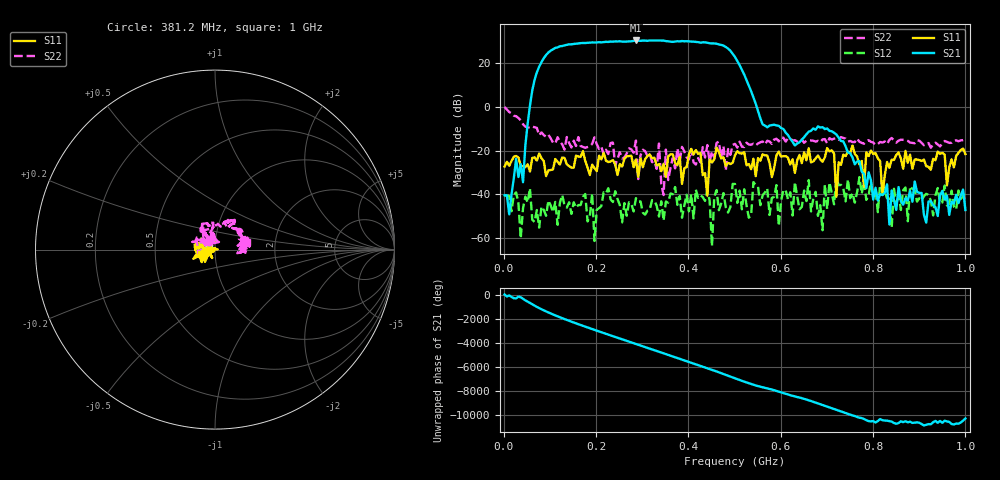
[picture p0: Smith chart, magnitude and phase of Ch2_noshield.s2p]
!Keysight Technologies N9923A: A.12.45
!Date: Friday, 10 October 2025 01:57:10
!Timezone: (UTC+08:00) Kuala Lumpur, Singapore
!Model: N9923A
!Serial: MY61181427
!GPS Latitude:
!GPS Longitude:
!GPS TimeStamp: 0001-01-01 00:00:00Z
!GPS Seconds Since Last Read: 0
!CHECKSUM:0572814941
!Correction: S11(ON U?)S21(ON U?)S12(ON U?)S22(ON U?)
!S2P File: Measurements:S11,S21,S12,S22:
# Hz S DB R 50
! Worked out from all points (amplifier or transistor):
!   201 points, 2 MHz to 1 GHz, reference 50 ohm
!   highest |S21| = 30.6 dB at 286.4 MHz (marker M1)
!   |S21| within 3 dB of that: 118.4 MHz to 481.1 MHz (362.7 MHz wide, 121 % of centre)
!   unconditionally stable (mu >= 1): 2.371 MHz to end of sweep
!   at 166.7 MHz: K = 3.04, MAG = 29.4 dB, |S12| = -45.0 dB
!   at 501 MHz: K = 2.14, MAG = 23.1 dB, |S12| = -35.3 dB
!   at 1 GHz: K = 10484.48, MAG = -47.1 dB, |S12| = -39.5 dB
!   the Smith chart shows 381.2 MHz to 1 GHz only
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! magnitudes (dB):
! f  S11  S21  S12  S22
! 2 MHz  -27.3  -40.5  -40.6  0.1
! 41.92 MHz  -27.1  -34.5  -46.4  -7.9
! 81.84 MHz  -23.4  20.6  -45.7  -11.6
! 171.7 MHz  -20.3  29.4  -41.2  -18.3
! 191.6 MHz  -26.4  29.7  -39.6  -16.9
! 196.6 MHz  -28.0  29.6  -61.4  -13.9
! 216.6 MHz  -21.1  29.8  -39.1  -21.8
! 286.4 MHz  -24.0  30.6  -41.8  -15.4
! 291.4 MHz  -32.0  30.4  -43.4  -33.1
! 336.3 MHz  -26.2  30.5  -50.2  -16.8
! 346.3 MHz  -26.0  30.5  -52.1  -40.4
! 351.3 MHz  -32.0  30.3  -43.4  -19.5
! 416.2 MHz  -19.8  29.9  -37.9  -26.4
! 441.1 MHz  -40.6  29.5  -38.1  -17.4
! 451.1 MHz  -25.5  29.2  -63.8  -20.3
! 461.1 MHz  -18.6  29.1  -38.1  -16.5
! 501 MHz  -22.1  23.0  -35.3  -16.9
! 560.9 MHz  -21.7  -8.0  -40.5  -15.8
! 670.7 MHz  -24.9  -9.8  -42.0  -15.5
! 835.3 MHz  -27.9  -53.9  -42.0  -15.1
! 890.2 MHz  -24.1  -34.2  -38.0  -16.6
! 1 GHz  -21.5  -47.3  -39.5  -14.9
